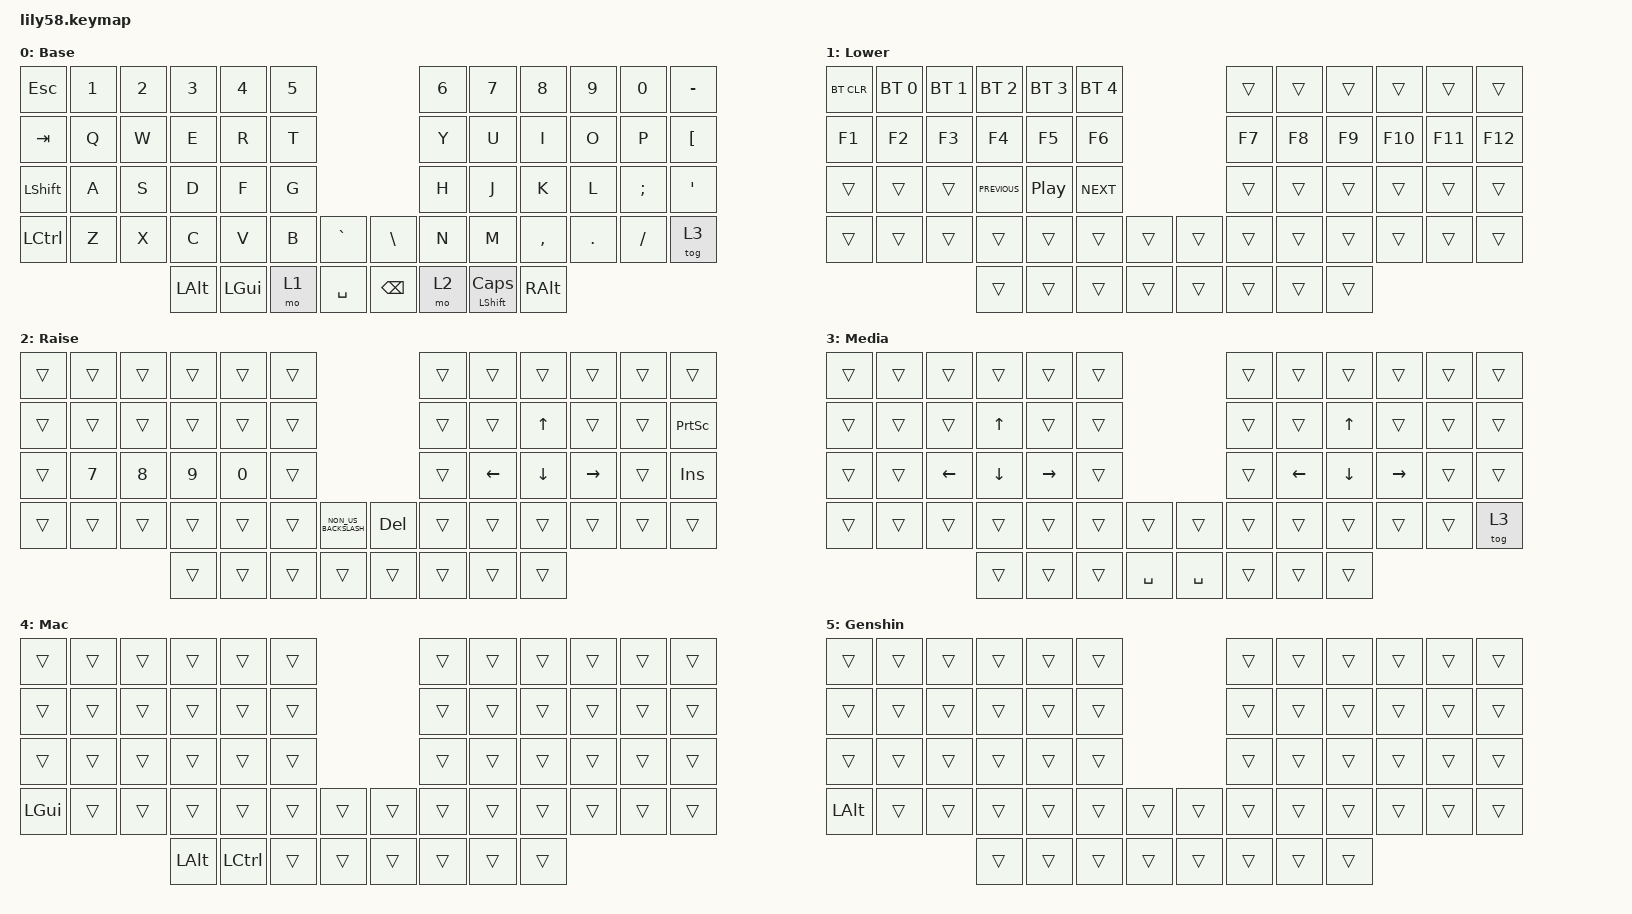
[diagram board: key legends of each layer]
/*
 * Copyright (c) 2020 The ZMK Contributors
 *
 * SPDX-License-Identifier: MIT
 */

#include <behaviors.dtsi>
#include <dt-bindings/zmk/bt.h>
#include <dt-bindings/zmk/keys.h>

/ {
    combos {
        compatible = "zmk,combos";

        Enter_Combo {
            bindings = <&kp ENTER>;
            key-positions = <53 54>;
        };

        Toggle_Mac_Combo {
            bindings = <&tog 4>;
            key-positions = <52 55>;
        };

        Genshin_Combo {
            bindings = <&tog 5>;
            key-positions = <49 36>;
        };
    };

    keymap {
        compatible = "zmk,keymap";

        default_layer {
            // ------------------------------------------------------------------------------------------------------------
            // |  ESC  |  1  |  2  |  3   |  4   |  5   |                   |  6   |  7    |  8    |  9   |   0   |   `   |
            // |  TAB  |  Q  |  W  |  E   |  R   |  T   |                   |  Y   |  U    |  I    |  O   |   P   |   -   |
            // |  CTRL |  A  |  S  |  D   |  F   |  G   |                   |  H   |  J    |  K    |  L   |   ;   |   '   |
            // | SHIFT |  Z  |  X  |  C   |  V   |  B   |   "["  |  |  "]"  |  N   |  M    |  ,    |  .   |   /   | SHIFT |
            //                     | ALT  | GUI  | LOWER|  SPACE |  | ENTER | RAISE| BSPC  | GUI   |

            display-name = "Base";
            bindings = <
&kp ESC           &kp N1  &kp N2  &kp N3    &kp N4    &kp N5                              &kp N6  &kp N7                   &kp N8         &kp N9   &kp N0    &kp MINUS
&kp TAB           &kp Q   &kp W   &kp E     &kp R     &kp T                               &kp Y   &kp U                    &kp I          &kp O    &kp P     &kp LEFT_BRACKET
&kp LEFT_SHIFT    &kp A   &kp S   &kp D     &kp F     &kp G                               &kp H   &kp J                    &kp K          &kp L    &kp SEMI  &kp SQT
&kp LEFT_CONTROL  &kp Z   &kp X   &kp C     &kp V     &kp B   &kp GRAVE    &kp BACKSLASH  &kp N   &kp M                    &kp COMMA      &kp DOT  &kp FSLH  &tog 3
                                  &kp LALT  &kp LGUI  &mo 1   &kp SPACE    &kp BACKSPACE  &mo 2   &mt LEFT_SHIFT CAPSLOCK  &kp RIGHT_ALT
            >;
        };

        lower_layer {
            // ------------------------------------------------------------------------------------------------------------
            // | BTCLR | BT1 | BT2 |  BT3 |  BT4 |  BT5 |                   |      |       |       |      |       |       |
            // |  F1   |  F2 |  F3 |  F4  |  F5  |  F6  |                   |  F7  |  F8   |  F9   |  F10 |  F11  |  F12  |
            // |   `   |  !  |  @  |  #   |  $   |  %   |                   |  ^   |  &    |  *    |  (   |   )   |   ~   |
            // |       |     |     |      |      |      |        |  |       |      |  _    |  +    |  {   |   }   |  "|"  |
            //                     |      |      |      |        |  |       |      |       |       |

            display-name = "Lower";
            bindings = <
&bt BT_CLR  &bt BT_SEL 0  &bt BT_SEL 1  &bt BT_SEL 2    &bt BT_SEL 3      &bt BT_SEL 4                    &trans  &trans  &trans  &trans   &trans   &trans
&kp F1      &kp F2        &kp F3        &kp F4          &kp F5            &kp F6                          &kp F7  &kp F8  &kp F9  &kp F10  &kp F11  &kp F12
&trans      &trans        &trans        &kp C_PREVIOUS  &kp C_PLAY_PAUSE  &kp C_NEXT                      &trans  &trans  &trans  &trans   &trans   &trans
&trans      &trans        &trans        &trans          &trans            &trans        &trans    &trans  &trans  &trans  &trans  &trans   &trans   &trans
                                        &trans          &trans            &trans        &trans    &trans  &trans  &trans  &trans
            >;
        };

        raise_layer {
            // ------------------------------------------------------------------------------------------------------------
            // |       |     |     |      |      |      |                   |      |       |       |      |       |       |
            // |   `   |  1  |  2  |  3   |  4   |  5   |                   |  6   |   7   |   8   |  9   |   0   |       |
            // |   F1  |  F2 |  F3 |  F4  |  F5  |  F6  |                   |      |   <-  |   v   |  ^   |  ->   |       |
            // |   F7  |  F8 |  F9 |  F10 |  F11 |  F12 |        |  |       |  +   |   -   |   =   |  [   |   ]   |   \   |
            //                     |      |      |      |        |  |       |      |       |       |

            display-name = "Raise";
            bindings = <
&trans  &trans  &trans  &trans  &trans  &trans                                   &trans  &trans    &trans        &trans           &trans  &trans
&trans  &trans  &trans  &trans  &trans  &trans                                   &trans  &trans    &kp UP_ARROW  &trans           &trans  &kp PRINTSCREEN
&trans  &kp N7  &kp N8  &kp N9  &kp N0  &trans                                   &trans  &kp LEFT  &kp DOWN      &kp RIGHT_ARROW  &trans  &kp INS
&trans  &trans  &trans  &trans  &trans  &trans  &kp NON_US_BACKSLASH    &kp DEL  &trans  &trans    &trans        &trans           &trans  &trans
                        &trans  &trans  &trans  &trans                  &trans   &trans  &trans    &trans
            >;
        };

        media_layer {
            bindings = <
&trans  &trans  &trans    &trans    &trans     &trans                          &trans  &trans    &trans    &trans     &trans  &trans
&trans  &trans  &trans    &kp UP    &trans     &trans                          &trans  &trans    &kp UP    &trans     &trans  &trans
&trans  &trans  &kp LEFT  &kp DOWN  &kp RIGHT  &trans                          &trans  &kp LEFT  &kp DOWN  &kp RIGHT  &trans  &trans
&trans  &trans  &trans    &trans    &trans     &trans  &trans       &trans     &trans  &trans    &trans    &trans     &trans  &tog 3
                          &trans    &trans     &trans  &kp SPACE    &kp SPACE  &trans  &trans    &trans
            >;

            label = "Media";
        };

        MAC_LAYER {
            bindings = <
&trans    &trans  &trans  &trans    &trans            &trans                    &trans  &trans  &trans  &trans  &trans  &trans
&trans    &trans  &trans  &trans    &trans            &trans                    &trans  &trans  &trans  &trans  &trans  &trans
&trans    &trans  &trans  &trans    &trans            &trans                    &trans  &trans  &trans  &trans  &trans  &trans
&kp LGUI  &trans  &trans  &trans    &trans            &trans  &trans    &trans  &trans  &trans  &trans  &trans  &trans  &trans
                          &kp LALT  &kp LEFT_CONTROL  &trans  &trans    &trans  &trans  &trans  &trans
            >;

            label = "Mac";
        };

        Genshin {
            bindings = <
&trans        &trans  &trans  &trans  &trans  &trans                    &trans  &trans  &trans  &trans  &trans  &trans
&trans        &trans  &trans  &trans  &trans  &trans                    &trans  &trans  &trans  &trans  &trans  &trans
&trans        &trans  &trans  &trans  &trans  &trans                    &trans  &trans  &trans  &trans  &trans  &trans
&kp LEFT_ALT  &trans  &trans  &trans  &trans  &trans  &trans    &trans  &trans  &trans  &trans  &trans  &trans  &trans
                              &trans  &trans  &trans  &trans    &trans  &trans  &trans  &trans
            >;
        };
    };
};
